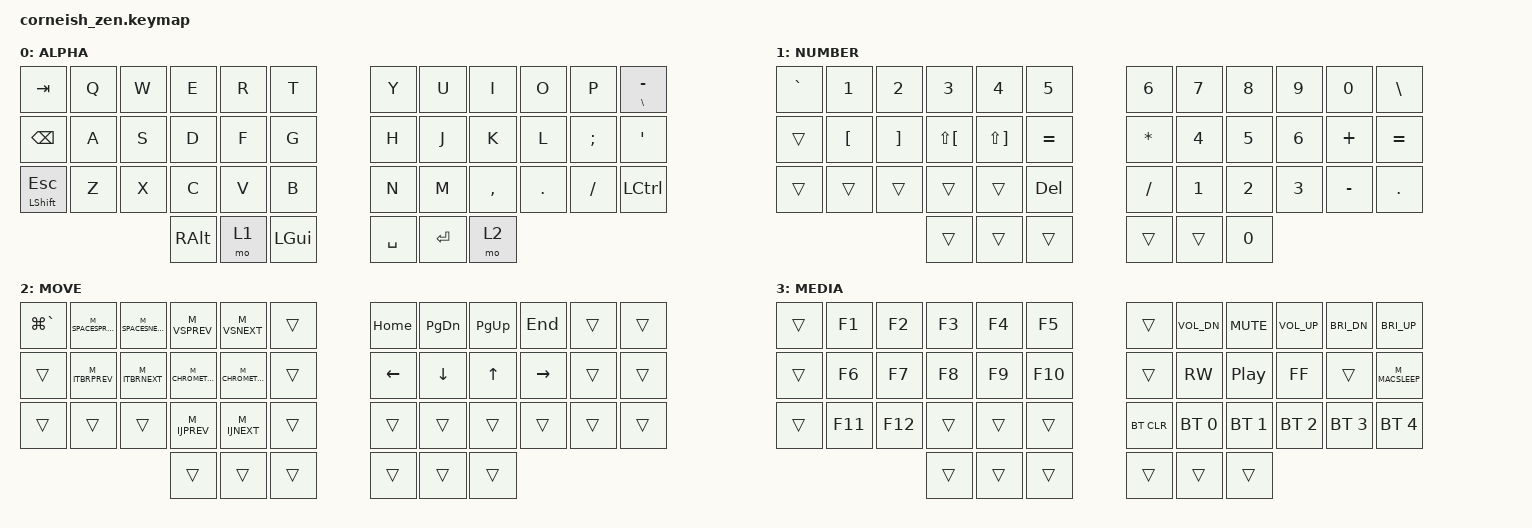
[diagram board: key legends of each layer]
/*
 * Copyright (c) 2020 The ZMK Contributors
 *
 * SPDX-License-Identifier: MIT
 */

#include <behaviors.dtsi>
#include <dt-bindings/zmk/keys.h>
#include <dt-bindings/zmk/bt.h>

/ {
    combos {
        compatible = "zmk,combos";

        BRACKETS {
            bindings = <&mt RIGHT_BRACKET LBKT>;
            key-positions = <9 10>;
            layers = <0>;
        };
    };

    conditional_layers {
        compatible = "zmk,conditional-layers";

        tri_layer {
            if-layers = <1 2>;
            then-layer = <3>;
        };
    };

    macros {
        M_VSPREV: M_VSPREV {
            compatible = "zmk,behavior-macro";
            label = "M_VSPREV";
            #binding-cells = <0>;
            bindings = <&kp LC(MINUS)>;
        };
        M_VSNEXT: M_VSNEXT {
            compatible = "zmk,behavior-macro";
            label = "M_VSNEXT";
            #binding-cells = <0>;
            bindings = <&kp LC(LS(MINUS))>;
        };
        M_IJPREV: M_IJPREV {
            compatible = "zmk,behavior-macro";
            label = "M_IJPREV";
            #binding-cells = <0>;
            bindings = <&kp LG(LBKT)>;
        };
        M_IJNEXT: M_IJNEXT {
            compatible = "zmk,behavior-macro";
            label = "M_IJNEXT";
            #binding-cells = <0>;
            bindings = <&kp LG(RBKT)>;
        };
        M_ITBRPREV: M_ITBRPREV {
            compatible = "zmk,behavior-macro";
            label = "M_ITBRPREV";
            #binding-cells = <0>;
            bindings = <&kp LG(LEFT)>;
        };
        M_ITBRNEXT: M_ITBRNEXT {
            compatible = "zmk,behavior-macro";
            label = "M_ITBRNEXT";
            #binding-cells = <0>;
            bindings = <&kp LG(RIGHT)>;
        };
        M_SPACESNEXT: M_SPACESNEXT {
            compatible = "zmk,behavior-macro";
            label = "M_SPACESNEXT";
            #binding-cells = <0>;
            bindings = <&kp LC(RIGHT)>;
        };
        M_SPACESPREV: M_SPACESPREV {
            compatible = "zmk,behavior-macro";
            label = "M_SPACESPREV";
            #binding-cells = <0>;
            bindings = <&kp LC(LEFT)>;
        };
        M_CHROMETABNEXT: M_CHROMETABNEXT {
            compatible = "zmk,behavior-macro";
            label = "M_CHROMETABNEXT";
            #binding-cells = <0>;
            bindings = <&kp LG(LA(RIGHT))>;
        };
        M_CHROMETABPREV: M_CHROMETABPREV {
            compatible = "zmk,behavior-macro";
            label = "M_CHROMETABPREV";
            #binding-cells = <0>;
            bindings = <&kp LG(LA(LEFT))>;
        };
        M_MACSLEEP: M_MACSLEEP {
            compatible = "zmk,behavior-macro";
            label = "M_MACSLEEP";
            #binding-cells = <0>;
            bindings = <&kp LG(LA(C_EJECT))>;
        };
    };

    keymap {
        compatible = "zmk,keymap";

        BASE_LAYER {
        label = "ALPHA";
            bindings = <
       &kp TAB  &kp Q  &kp W     &kp E  &kp R     &kp T        &kp Y    &kp U      &kp I    &kp O     &kp P  &mt BACKSLASH MINUS
      &kp BSPC  &kp A  &kp S     &kp D  &kp F     &kp G        &kp H    &kp J      &kp K    &kp L  &kp SEMI              &kp SQT
&mt LSHIFT ESC  &kp Z  &kp X     &kp C  &kp V     &kp B        &kp N    &kp M  &kp COMMA  &kp DOT  &kp FSLH            &kp LCTRL
                              &kp RALT  &mo 1  &kp LGUI    &kp SPACE  &kp RET      &mo 2
            >;
        };

        NUM_LAYER {
            label = "NUMBER";
            bindings = <
&kp GRAVE    &kp N1    &kp N2        &kp N3        &kp N4      &kp N5       &kp N6  &kp N7  &kp N8  &kp N9     &kp N0   &kp BSLH
   &trans  &kp LBKT  &kp RBKT  &kp LS(LBKT)  &kp LS(RBKT)   &kp EQUAL    &kp ASTRK  &kp N4  &kp N5  &kp N6   &kp PLUS  &kp EQUAL
   &trans    &trans    &trans        &trans        &trans  &kp DELETE     &kp FSLH  &kp N1  &kp N2  &kp N3  &kp MINUS    &kp DOT
                                     &trans        &trans      &trans       &trans  &trans  &kp N0
            >;
        };

        NAV_LAYER {
            label = "MOVE";
            bindings = <
&kp LG(GRAVE)  &M_SPACESPREV  &M_SPACESNEXT         &M_VSPREV         &M_VSNEXT  &trans          &kp HOME  &kp PAGE_DOWN     &kp PG_UP          &kp END  &trans  &trans
       &trans    &M_ITBRPREV    &M_ITBRNEXT  &M_CHROMETABPREV  &M_CHROMETABNEXT  &trans    &kp LEFT_ARROW       &kp DOWN  &kp UP_ARROW  &kp RIGHT_ARROW  &trans  &trans
       &trans         &trans         &trans         &M_IJPREV         &M_IJNEXT  &trans            &trans         &trans        &trans           &trans  &trans  &trans
                                                       &trans            &trans  &trans            &trans         &trans        &trans
            >;
        };

        ADJUST_LAYER {
            label = "MEDIA";
            bindings = <
&trans   &kp F1   &kp F2  &kp F3  &kp F4   &kp F5        &trans  &kp C_VOL_DN    &kp C_MUTE  &kp C_VOL_UP  &kp C_BRI_DN  &kp C_BRI_UP
&trans   &kp F6   &kp F7  &kp F8  &kp F9  &kp F10        &trans      &kp C_RW      &kp C_PP      &kp C_FF        &trans   &M_MACSLEEP
&trans  &kp F11  &kp F12  &trans  &trans   &trans    &bt BT_CLR  &bt BT_SEL 0  &bt BT_SEL 1  &bt BT_SEL 2  &bt BT_SEL 3  &bt BT_SEL 4
                          &trans  &trans   &trans        &trans        &trans        &trans
            >;
        };
    };
};
